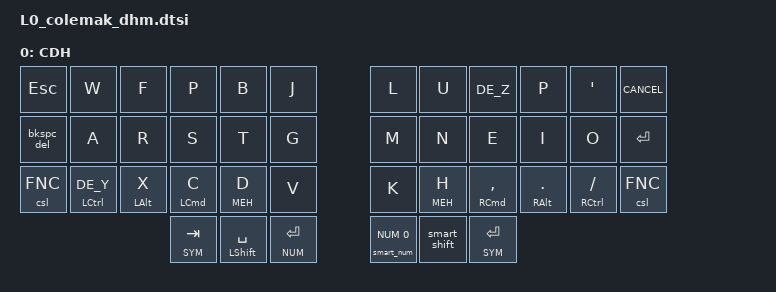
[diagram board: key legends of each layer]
/**
 * Alpha Layer - QWERTZ
 */

/ {
  keymap {
    compatible = "zmk,keymap";

    layer_def_colemak_dhm {
      label = "CDH";
      bindings = <
// ╭───────────────┬───────────────┬───────────────┬───────────────┬───────────────┬───────────────╮   ╭───────────────┬───────────────┬───────────────┬───────────────┬───────────────┬───────────────╮
//  0               1               2               3               4               5                   6               7               8               9               10              11
    &kp ESC         &kp W           &kp F           &kp P           &kp B               &kp J           &kp L           &kp U           &kp DE_Z        &kp P           &kp SQT        &kp K_CANCEL
// ├───────────────├───────────────┼───────────────┼───────────────┼───────────────┼───────────────┤   ├───────────────├───────────────┼───────────────┼───────────────┼───────────────┼───────────────┤
//  12              13              14              15              16              17                  18              19              20              21              22              23
    &bkspc_del      &kp A           &kp R           &kp S           &kp T           &kp G               &kp M           &kp N           &kp E           &kp I           &kp O           &kp ENTER
// ├───────────────├───────────────┼───────────────┼───────────────┼───────────────┼───────────────┤   ├───────────────├───────────────┼───────────────┼───────────────┼───────────────┼───────────────┤
//  24              25              26              27              28              29                  30              31              32              33              34              35
    &csl FNC        &mt LCTRL DE_Y  &mt LALT X      &mt LCMD C      &mt MEH D       &kp V               &kp K           &mt MEH H       &mt RCMD COMMA  &mt RALT DOT    &mt RCTRL SLASH &csl FNC
// ╰───────────────┴───────────────┴───────────────┼───────────────┼───────────────┼───────────────┤   ├───────────────├───────────────┼───────────────┼───────────────┴───────────────┴───────────────╯
//                                                  36              37              38                  39              40              41
                                                    &lt SYM TAB     &mt LSHFT SPACE &lt NUM ENTER       &smart_num NUM 0 &smart_shift   &lt SYM ENTER
//                                                 ╰───────────────┴───────────────┴───────────────╯   ╰───────────────┴───────────────┴───────────────╯
      >;
    };
  };
};


